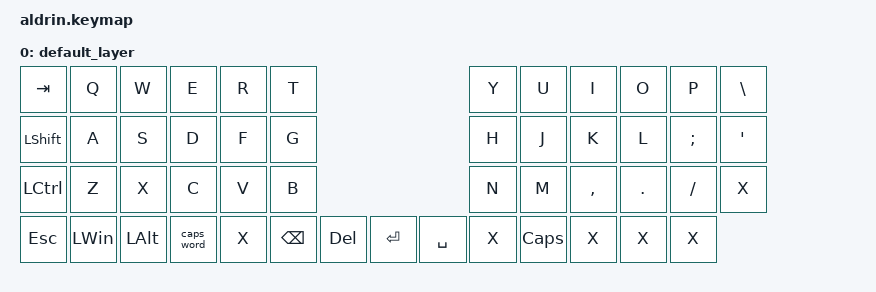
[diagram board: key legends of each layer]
/*
 * Copyright (c) 2020 The ZMK Contributors
 *
 * SPDX-License-Identifier: MIT
 */

#include <behaviors.dtsi>
#include <dt-bindings/zmk/keys.h>
#include <dt-bindings/zmk/bt.h>

/ {
        keymap {
                compatible = "zmk,keymap";

                default_layer {
// ---------------------------------------------------------------------------------------------------------------
// |  TAB |  Q  |  W  |  E  |  R  |  T  |                                  |  Y  |  U   |  I  |  O  |  P  |  \   |
// | SHFT |  A  |  S  |  D  |  F  |  G  |                                  |  H  |  J   |  K  |  L  |  ;  |  '   |
// | CTRL |  Z  |  X  |  C  |  V  |  B  |                                  |  N  |  M   |  ,  |  .  |  /  |ALTTB |
// |  ESC | WIN | ALT | CAPW| 10K |     | BKSP | | DEL |      | RET | SPAC |      |ARRBR| CAP | FUN | MACR| GAME |
                        bindings = <
   &kp TAB    &kp Q     &kp W     &kp E       &kp R  &kp T                                       &kp Y  &kp U  &kp I      &kp O    &kp P     &kp BSLH
   &kp LSHFT  &kp A     &kp S     &kp D       &kp F  &kp G                                       &kp H  &kp J  &kp K      &kp L    &kp SEMI  &kp SQT
   &kp LCTRL  &kp Z     &kp X     &kp C       &kp V  &kp B                                       &kp N  &kp M  &kp COMMA  &kp DOT  &kp FSLH  &kp X
   &kp ESC    &kp LWIN  &kp LALT  &caps_word  &kp X        &kp BSPC &kp DEL    &kp RET &kp SPACE        &kp X  &kp CAPS   &kp X    &kp X     &kp X
                        >;
                };
        };
};
